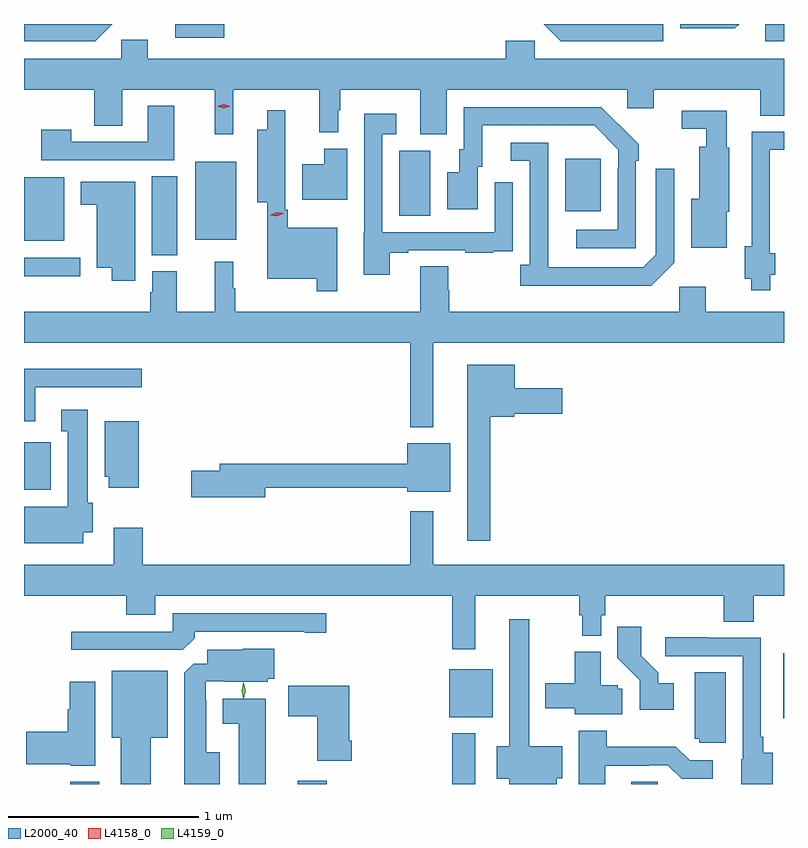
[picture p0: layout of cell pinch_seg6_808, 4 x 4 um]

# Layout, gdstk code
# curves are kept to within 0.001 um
import gdstk
lib = gdstk.Library(unit=1e-6, precision=1e-09)
def R(c, l, rs):  # rectangles x0, y0, x1, y1
    for r in rs: c.add(gdstk.rectangle(r[:2], r[2:], *l))
def P(c, l, *ps):  # polygons
    for p in ps: c.add(gdstk.Polygon(p, *l))
L2000_40 = (2000, 40)
L4158_0 = (4158, 0)
L4159_0 = (4159, 0)

pinch_seg6_808 = lib.new_cell('pinch_seg6_808')
R(pinch_seg6_808, L2000_40, [(123.629,972.986,123.781,972.997), (124.826,972.986,124.979,973.003), (125.64,972.986,125.761,973.252), (126.581,972.986,126.72,972.998), (127.382,973.331,127.385,973.675), (125.624,973.337,125.851,973.591), (123.385,974.534,123.525,974.785), (123.385,975.659,123.682,975.756), (124.058,975.769,124.192,976.184), (123.386,975.845,123.598,976.18), (124.286,975.851,124.501,976.261), (125.36,975.976,125.524,976.32), (126.233,976.001,126.421,976.276), (127.287,976.896,127.385,976.986), (124.182,976.914,124.439,976.986)])
P(pinch_seg6_808, L2000_40, [(126.75,976.986),(126.12,976.986),(126.21,976.896),(126.75,976.896)],
  [(127.149,976.986),(126.839,976.986),(126.839,976.964),(127.127,976.964)],
  [(123.85,976.986),(123.385,976.986),(123.385,976.896),(123.76,976.896)],
  [(125.611,976.64),(126.561,976.64),(126.561,976.542),(126.7,976.542),(126.7,976.64),(127.259,976.64),(127.259,976.504),(127.385,976.504),(127.385,976.804),(126.072,976.804),(126.072,976.897),(125.921,976.897),(125.921,976.804),(124.036,976.804),(124.036,976.902),(123.897,976.902),(123.897,976.804),(123.385,976.804),(123.385,976.64),(123.754,976.64),(123.754,976.45),(123.901,976.45),(123.901,976.64),(124.388,976.64),(124.388,976.407),(124.485,976.407),(124.485,976.64),(124.94,976.64),(124.94,976.415),(125.038,976.415),(125.038,976.533),(125.05,976.533),(125.05,976.64),(125.471,976.64),(125.471,976.405),(125.611,976.405)],
  [(124.177,976.555),(124.037,976.555),(124.037,976.365),(123.633,976.365),(123.633,976.429),(123.477,976.429),(123.477,976.269),(124.177,976.269)],
  [(126.606,976.265),(126.621,976.265),(126.621,976.353),(126.424,976.548),(125.7,976.548),(125.7,976.326),(125.675,976.326),(125.675,976.207),(125.612,976.207),(125.612,976.011),(125.773,976.011),(125.773,976.236),(125.797,976.236),(125.797,976.452),(126.385,976.452),(126.513,976.323),(126.513,976.223),(126.51,976.223),(126.51,975.903),(126.291,975.903),(126.291,975.807),(126.606,975.807)],
  [(125.034,975.913),(124.774,975.913),(124.774,976.009),(124.761,976.009),(124.761,976.531),(124.664,976.531),(124.664,976.429),(124.613,976.429),(124.613,976.049),(124.664,976.049),(124.664,975.644),(124.926,975.644),(124.926,975.579),(125.034,975.579)],
  [(127.084,975.999),(127.096,975.999),(127.096,976.335),(127.084,976.335),(127.084,976.53),(126.846,976.53),(126.846,976.434),(126.975,976.434),(126.975,976.339),(126.938,976.339),(126.938,976.066),(126.896,976.066),(126.896,975.809),(127.084,975.809)],
  [(125.311,975.783),(125.407,975.783),(125.407,975.795),(125.707,975.795),(125.707,975.783),(125.855,975.783),(125.855,975.789),(125.957,975.789),(125.957,975.898),(125.958,975.898),(125.958,976.153),(125.862,976.153),(125.862,975.891),(125.271,975.891),(125.271,976.407),(125.344,976.407),(125.344,976.513),(125.175,976.513),(125.175,975.888),(125.174,975.888),(125.174,975.666),(125.311,975.666)],
  [(127.312,975.666),(127.339,975.666),(127.339,975.78),(127.311,975.78),(127.311,976.323),(127.385,976.323),(127.385,976.419),(127.215,976.419),(127.215,975.815),(127.178,975.815),(127.178,975.644),(127.213,975.644),(127.213,975.584),(127.312,975.584)],
  [(126.807,975.729),(126.807,976.225),(126.711,976.225),(126.711,975.771),(126.645,975.705),(126.145,975.705),(126.144,976.362),(125.946,976.362),(125.946,976.266),(126.048,976.266),(126.048,975.718),(125.997,975.718),(125.997,975.608),(126.686,975.608)],
  [(125.086,976.33),(124.964,976.33),(124.964,976.249),(124.85,976.249),(124.85,976.061),(125.086,976.061)],
  [(123.97,976.156),(123.683,976.156),(123.683,976.034),(123.767,976.034),(123.767,975.704),(123.848,975.704),(123.848,975.636),(123.97,975.636)],
  [(125.539,975.308),(127.385,975.308),(127.385,975.472),(126.973,975.472),(126.973,975.604),(126.834,975.604),(126.834,975.472),(125.624,975.472),(125.624,975.585),(125.619,975.585),(125.619,975.71),(125.471,975.71),(125.471,975.472),(124.498,975.472),(124.498,975.596),(124.486,975.596),(124.486,975.736),(124.388,975.736),(124.388,975.472),(124.189,975.472),(124.189,975.684),(124.061,975.684),(124.061,975.573),(124.049,975.573),(124.049,975.472),(123.385,975.472),(123.385,975.308),(125.418,975.308),(125.418,974.864),(125.539,974.864)],
  [(125.839,974.918),(125.964,974.918),(125.964,974.936),(126.217,974.936),(126.217,975.07),(125.968,975.07),(125.968,975.193),(125.717,975.193),(125.717,974.265),(125.839,974.265)],
  [(123.445,975.075),(124.006,975.075),(124.006,975.172),(123.385,975.172),(123.385,974.894),(123.445,974.894)],
  [(123.697,974.312),(123.748,974.312),(123.748,974.466),(123.721,974.466),(123.721,974.956),(123.581,974.956),(123.581,974.843),(123.614,974.843),(123.614,974.446),(123.385,974.446),(123.385,974.252),(123.697,974.252)],
  [(123.988,974.896),(123.809,974.896),(123.809,974.604),(123.83,974.604),(123.83,974.544),(123.988,974.544)],
  [(124.654,974.544),(125.402,974.544),(125.402,974.525),(125.629,974.525),(125.629,974.779),(125.402,974.779),(125.402,974.672),(124.415,974.672),(124.415,974.636),(124.266,974.636),(124.266,974.494),(124.654,974.494)],
  [(125.761,973.976),(126.307,973.976),(126.307,973.875),(126.322,973.875),(126.322,973.766),(126.423,973.766),(126.423,973.875),(126.443,973.875),(126.443,973.976),(127.067,973.976),(127.067,973.84),(127.227,973.84),(127.227,973.976),(127.385,973.976),(127.385,974.14),(125.539,974.14),(125.539,974.422),(125.418,974.422),(125.418,974.14),(124.01,974.14),(124.01,974.335),(123.857,974.335),(123.857,974.14),(123.385,974.14),(123.385,973.976),(123.923,973.976),(123.923,973.877),(124.075,973.877),(124.075,973.976),(125.64,973.976),(125.64,973.695),(125.761,973.695)],
  [(124.283,973.754),(124.283,973.788),(124.862,973.788),(124.862,973.783),(124.975,973.783),(124.975,973.884),(124.167,973.884),(124.167,973.788),(123.633,973.788),(123.633,973.692),(124.221,973.692)],
  [(126.19,973.017),(126.217,973.017),(126.217,973.186),(126.043,973.186),(126.043,973.852),(125.939,973.852),(125.939,973.184),(125.873,973.184),(125.873,973.013),(125.939,973.013),(125.939,972.986),(126.19,972.986)],
  [(126.805,973.516),(126.724,973.516),(126.724,973.571),(126.634,973.661),(126.634,973.813),(126.508,973.813),(126.508,973.65),(126.627,973.531),(126.627,973.376),(126.805,973.376)],
  [(127.326,973.151),(127.276,973.151),(127.276,973.234),(127.263,973.234),(127.263,973.755),(126.983,973.755),(126.983,973.758),(126.759,973.758),(126.759,973.659),(127.167,973.659),(127.167,973.116),(127.16,973.116),(127.16,972.986),(127.326,972.986)],
  [(124.414,973.153),(124.345,973.153),(124.345,973.427),(124.341,973.427),(124.341,973.527),(124.441,973.527),(124.441,973.523),(124.668,973.523),(124.668,973.539),(124.703,973.539),(124.703,973.699),(124.536,973.699),(124.536,973.693),(124.349,973.693),(124.349,973.62),(124.278,973.62),(124.229,973.571),(124.229,972.986),(124.414,972.986)],
  [(126.534,973.488),(126.51,973.488),(126.51,973.506),(126.421,973.506),(126.421,973.681),(126.284,973.681),(126.284,973.515),(126.128,973.515),(126.128,973.385),(126.284,973.385),(126.284,973.352),(126.534,973.352)],
  [(124.051,973.229),(124.141,973.229),(124.141,973.582),(123.848,973.582),(123.848,973.229),(123.893,973.229),(123.893,972.986),(124.051,972.986)],
  [(127.078,973.573),(126.914,973.573),(126.914,973.224),(126.939,973.224),(126.939,973.203),(127.078,973.203)],
  [(123.76,973.525),(123.626,973.525),(123.626,973.379),(123.614,973.379),(123.614,973.262),(123.396,973.262),(123.396,973.091),(123.63,973.091),(123.63,973.082),(123.76,973.082)],
  [(125.111,973.213),(125.098,973.213),(125.098,973.504),(124.932,973.504),(124.932,973.503),(124.776,973.503),(124.776,973.342),(124.928,973.342),(124.928,973.109),(125.111,973.109)],
  [(124.657,973.435),(124.43,973.435),(124.43,973.304),(124.514,973.304),(124.514,972.986),(124.657,972.986)],
  [(126.445,973.083),(126.674,973.083),(126.674,973.086),(126.774,973.086),(126.847,973.013),(127.009,973.013),(127.009,973.11),(126.888,973.11),(126.815,973.183),(126.453,973.183),(126.453,973.267),(126.305,973.267),(126.305,972.986),(126.445,972.986)])
P(pinch_seg6_808, L4158_0, [(124.718,975.974),(124.681,975.979),(124.681,975.979),(124.681,975.979),(124.715,975.994),(124.751,975.989),(124.752,975.989),(124.751,975.989)],
  [(124.436,976.543),(124.401,976.554),(124.401,976.554),(124.401,976.554),(124.436,976.563),(124.471,976.553),(124.471,976.553),(124.471,976.553)])
P(pinch_seg6_808, L4159_0, [(124.541,973.437),(124.54,973.438),(124.531,973.478),(124.54,973.519),(124.541,973.52),(124.541,973.519),(124.551,973.478),(124.541,973.438)])

lib.write_gds('pinch_seg6_808.gds')
